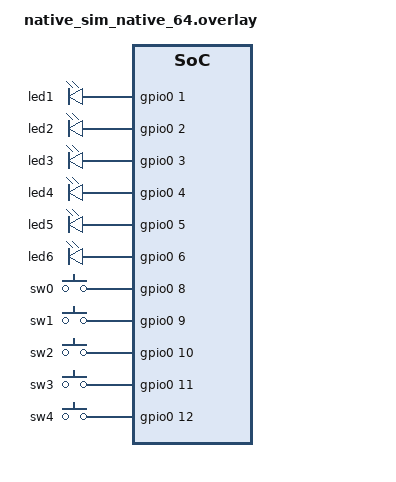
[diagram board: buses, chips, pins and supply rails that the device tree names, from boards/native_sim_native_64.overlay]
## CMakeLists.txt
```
cmake_minimum_required(VERSION 3.20.0)

# The board description under test. The test C code is the same for both: it reads the table the build generated and
# checks the image and the pins against it, so a channel added to the description (the extended one) reaches the image
# and its pin without any change to the firmware sources (IO-002).
if(NOT DEFINED ZPLC_IO_VARIANT)
  set(ZPLC_IO_VARIANT base)
endif()
if(NOT DEFINED ZPLC_IO_DESCRIPTION)
  set(ZPLC_IO_DESCRIPTION ${CMAKE_CURRENT_SOURCE_DIR}/io_${ZPLC_IO_VARIANT}.json)
endif()

list(PREPEND ZEPHYR_EXTRA_MODULES "${CMAKE_CURRENT_SOURCE_DIR}/../..")
find_package(Zephyr REQUIRED HINTS $ENV{ZEPHYR_BASE})
project(zplc_io_table)

# What each description needs, so that the test code names no channel: the number of channels and input
# channels and the image bytes the highest address of each direction needs.
if(ZPLC_IO_VARIANT STREQUAL "extended")
  set(_expect 12 5 3 2)
else()
  set(_expect 8 4 1 1)
endif()
list(GET _expect 0 _channels)
list(GET _expect 1 _inputs)
list(GET _expect 2 _input_bytes)
list(GET _expect 3 _output_bytes)

target_sources(app PRIVATE src/main.c)
target_compile_definitions(app PRIVATE
  ZPLC_IO_VARIANT_STR="${ZPLC_IO_VARIANT}"
  EXPECT_CHANNEL_COUNT=${_channels}
  EXPECT_INPUT_CHANNELS=${_inputs}
  EXPECT_INPUT_BYTES=${_input_bytes}
  EXPECT_OUTPUT_BYTES=${_output_bytes}
)
target_include_directories(app PRIVATE
  ${CMAKE_CURRENT_SOURCE_DIR}/../../lib/zplc_core/src/hal/zephyr
)
```

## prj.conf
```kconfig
CONFIG_ZTEST=y
CONFIG_ZPLC=y
CONFIG_ZPLC_SCHEDULER=y
CONFIG_ZPLC_MAX_TASKS=2
CONFIG_ZPLC_VM_CYCLE_INSTRUCTION_BUDGET=64
CONFIG_GPIO=y
CONFIG_GPIO_EMUL=y
CONFIG_SHELL=n
CONFIG_LOG=n
CONFIG_PRINTK=n
CONFIG_ASSERT=y
```

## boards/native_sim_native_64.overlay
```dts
/* Devicetree of the I/O table test: seven candidate outputs (pins 0 to 6) and five inputs (pins 8 to 12) on the
 * native_sim GPIO emulator. Which of them a board description uses is the test's variable: the others must stay
 * untouched. */
#include <zephyr/dt-bindings/gpio/gpio.h>
#include <zephyr/dt-bindings/input/input-event-codes.h>

/ {
    leds {
        led1: led_1 { gpios = <&gpio0 1 GPIO_ACTIVE_HIGH>; };
        led2: led_2 { gpios = <&gpio0 2 GPIO_ACTIVE_HIGH>; };
        led3: led_3 { gpios = <&gpio0 3 GPIO_ACTIVE_HIGH>; };
        led4: led_4 { gpios = <&gpio0 4 GPIO_ACTIVE_HIGH>; };
        led5: led_5 { gpios = <&gpio0 5 GPIO_ACTIVE_HIGH>; };
        led6: led_6 { gpios = <&gpio0 6 GPIO_ACTIVE_HIGH>; };
    };

    zplc_test_inputs {
        compatible = "gpio-keys";
        sw0: sw_0 { gpios = <&gpio0 8 0>; zephyr,code = <INPUT_KEY_0>; };
        sw1: sw_1 { gpios = <&gpio0 9 0>; zephyr,code = <INPUT_KEY_1>; };
        sw2: sw_2 { gpios = <&gpio0 10 0>; zephyr,code = <INPUT_KEY_2>; };
        sw3: sw_3 { gpios = <&gpio0 11 0>; zephyr,code = <INPUT_KEY_3>; };
        sw4: sw_4 { gpios = <&gpio0 12 0>; zephyr,code = <INPUT_KEY_4>; };
    };

    aliases {
        led1 = &led1;
        led2 = &led2;
        led3 = &led3;
        led4 = &led4;
        led5 = &led5;
        led6 = &led6;
        sw0 = &sw0;
        sw1 = &sw1;
        sw2 = &sw2;
        sw3 = &sw3;
        sw4 = &sw4;
    };
};
```

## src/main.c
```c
/*
 * The board I/O description drives the firmware I/O (IO-001, IO-002, IO-005, IO-018).
 *
 * The build generates the I/O table from io_<variant>.json. This test reads that
 * table and nothing else about the board: it drives every emulated input pin high,
 * runs a scan of a program that copies the input image and sets the output image,
 * and checks that
 *   - a described input lands in the input image at its address;
 *   - a described output reaches its pin;
 *   - a pin the devicetree has but the description does not list is left alone.
 * The base and the extended description run the same code, so the extra channels
 * of the extended one (an output in a second byte, an input in a third) reach the
 * image and the pins without a line of C that names them.
 */
#include <stdbool.h>
#include <string.h>
#include <zephyr/devicetree.h>
#include <zephyr/drivers/gpio/gpio_emul.h>
#include <zephyr/ztest.h>
#include <zplc_core.h>
#include <zplc_hal.h>
#include <zplc_isa.h>
#include <zplc_scheduler.h>

#include "zplc_io_zephyr.h"

#define GPIO_CONTROLLER DEVICE_DT_GET(DT_NODELABEL(gpio0))

/* The candidate pins of the devicetree overlay: outputs 0 to 6, inputs 8 to 12. */
#define OUTPUT_PIN_COUNT 7U
#define INPUT_PIN_FIRST 8U
#define INPUT_PIN_COUNT 5U

#define PROGRAM_CAPACITY 128U
#define INTERVAL_US 100000U
#define INPUT_BYTES_COPIED 3U

#define WORK_COPY (ZPLC_MEM_WORK_BASE + 0U)
#define ADDRESS_LOW(address) ((uint8_t)((address) & 0xFFU))
#define ADDRESS_HIGH(address) ((uint8_t)(((address) >> 8) & 0xFFU))

/* IPI[0..2] are copied to WORK[0..2]; OPI[0] and OPI[1] are set to the values
 * patched at VALUE_0_INDEX and VALUE_1_INDEX. */
static const uint8_t program_code[] = {
    OP_LOAD8,
    ADDRESS_LOW(ZPLC_MEM_IPI_BASE + 0U),
    ADDRESS_HIGH(ZPLC_MEM_IPI_BASE + 0U),
    OP_STORE8,
    ADDRESS_LOW(WORK_COPY + 0U),
    ADDRESS_HIGH(WORK_COPY + 0U),
    OP_LOAD8,
    ADDRESS_LOW(ZPLC_MEM_IPI_BASE + 1U),
    ADDRESS_HIGH(ZPLC_MEM_IPI_BASE + 1U),
    OP_STORE8,
    ADDRESS_LOW(WORK_COPY + 1U),
    ADDRESS_HIGH(WORK_COPY + 1U),
    OP_LOAD8,
    ADDRESS_LOW(ZPLC_MEM_IPI_BASE + 2U),
    ADDRESS_HIGH(ZPLC_MEM_IPI_BASE + 2U),
    OP_STORE8,
    ADDRESS_LOW(WORK_COPY + 2U),
    ADDRESS_HIGH(WORK_COPY + 2U),
    OP_PUSH8,
    0U, /* VALUE_0_INDEX */
    OP_STORE8,
    ADDRESS_LOW(ZPLC_MEM_OPI_BASE + 0U),
    ADDRESS_HIGH(ZPLC_MEM_OPI_BASE + 0U),
    OP_PUSH8,
    0U, /* VALUE_1_INDEX */
    OP_STORE8,
    ADDRESS_LOW(ZPLC_MEM_OPI_BASE + 1U),
    ADDRESS_HIGH(ZPLC_MEM_OPI_BASE + 1U),
    OP_HALT,
};
#define VALUE_0_INDEX 19U
#define VALUE_1_INDEX 24U

static uint32_t crc32_update(uint32_t crc, const uint8_t *data, size_t length) {
  size_t index;

  for (index = 0U; index < length; index++) {
    uint32_t bit;

    crc ^= data[index];
    for (bit = 0U; bit < 8U; bit++) {
      crc = (crc & 1U) != 0U ? (crc >> 1) ^ 0xEDB88320U : crc >> 1;
    }
  }
  return crc;
}

static void write_u16_le(uint8_t *data, uint16_t value) {
  data[0] = (uint8_t)value;
  data[1] = (uint8_t)(value >> 8);
}

static void write_u32_le(uint8_t *data, uint32_t value) {
  data[0] = (uint8_t)value;
  data[1] = (uint8_t)(value >> 8);
  data[2] = (uint8_t)(value >> 16);
  data[3] = (uint8_t)(value >> 24);
}

static size_t build_program(uint8_t *program, uint8_t value_0, uint8_t value_1) {
  const size_t code_size = sizeof(program_code);
  const size_t code_offset = ZPLC_FILE_HEADER_SIZE + 2U * ZPLC_SEGMENT_ENTRY_SIZE;
  const size_t task_offset = code_offset + code_size;
  const size_t total = task_offset + ZPLC_TASK_DEF_SIZE;
  uint8_t *task = program + task_offset;
  uint32_t crc;

  zassert_true(total <= PROGRAM_CAPACITY, "program buffer overflow");
  zassert_equal(program_code[VALUE_0_INDEX - 1U], OP_PUSH8, "value 0 follows a push");
  zassert_equal(program_code[VALUE_1_INDEX - 1U], OP_PUSH8, "value 1 follows a push");
  memset(program, 0, total);
  memcpy(program, "ZPLC", 4U);
  write_u16_le(program + 4U, ZPLC_VERSION_MAJOR);
  write_u16_le(program + 6U, ZPLC_VERSION_MINOR);
  write_u32_le(program + 28U, ZPLC_DRAFT_COUNTER);
  write_u32_le(program + 16U, (uint32_t)code_size);
  write_u32_le(program + 20U, (uint32_t)ZPLC_TASK_DEF_SIZE);
  write_u16_le(program + 26U, 2U);
  write_u16_le(program + 32U, ZPLC_SEG_CODE);
  write_u32_le(program + 36U, (uint32_t)code_size);
  write_u16_le(program + 40U, ZPLC_SEG_TASK);
  write_u32_le(program + 44U, (uint32_t)ZPLC_TASK_DEF_SIZE);
  memcpy(program + code_offset, program_code, code_size);
  program[code_offset + VALUE_0_INDEX] = value_0;
  program[code_offset + VALUE_1_INDEX] = value_1;
  write_u16_le(task, 1U);
  task[2] = ZPLC_TASK_CYCLIC;
  task[3] = 1U;
  write_u32_le(task + 4U, INTERVAL_US);
  write_u16_le(task + 8U, 0U);
  write_u16_le(task + 10U, 64U);
  crc = crc32_update(0xFFFFFFFFU, program, 12U);
  crc = crc32_update(crc, program + 16U, total - 16U) ^ 0xFFFFFFFFU;
  write_u32_le(program + 12U, crc);
  return total;
}

static void clear_scheduler(void) {
  int index;

  zassert_ok(zplc_sched_stop(), "stop scheduler");
  for (index = 0; index < CONFIG_ZPLC_MAX_TASKS; index++) {
    int result = zplc_sched_unregister_task(index);

    zassert_true(result == 0 || result == -2, "unregister task");
  }
}

/* The pin of a digital channel of the table, from the generated bindings. */
static uint8_t channel_pin(const zplc_io_channel_t *channel) {
  zassert_true(channel->hal_channel < zplc_io_gpio_binding_count, "HAL number in range");
  return (uint8_t)zplc_io_gpio_bindings[channel->hal_channel].spec.pin;
}

static bool output_pin_is_described(uint8_t pin) {
  size_t index;

  for (index = 0U; index < zplc_io_channel_count(); index++) {
    const zplc_io_channel_t *channel = zplc_io_channel_at(index);

    if (channel->direction == ZPLC_IO_DIR_OUTPUT && channel_pin(channel) == pin) {
      return true;
    }
  }
  return false;
}

/* Runs the program until one scan committed its outputs and leaves the pins and the
 * copied input image where the scan put them (a stop would drive the pins safe). */
static void run_scan(uint8_t value_0, uint8_t value_1, uint8_t *input_copy) {
  uint8_t program[PROGRAM_CAPACITY];
  zplc_sched_stats_t stats;
  uint32_t before;
  size_t size;
  int waited_ms = 0;

  clear_scheduler();
  size = build_program(program, value_0, value_1);
  zassert_equal(zplc_sched_load(program, size), 1, "load the program");
  zassert_ok(zplc_sched_get_stats(&stats), "read the commit count");
  before = stats.output_commit_count; /* the count survives a load: wait for a scan of this program */
  zassert_ok(zplc_sched_start(), "start scheduler");
  do {
    k_msleep(5);
    waited_ms += 5;
    zassert_ok(zplc_sched_get_stats(&stats), "read the commit count");
  } while (stats.output_commit_count <= before && waited_ms < 2000);
  zassert_true(stats.output_commit_count > before, "no output commit");
  memcpy(input_copy, zplc_mem_get_region(ZPLC_MEM_WORK_BASE), INPUT_BYTES_COPIED);
}

static bool input_pin_is_described(uint8_t pin) {
  size_t index;

  for (index = 0U; index < zplc_io_channel_count(); index++) {
    const zplc_io_channel_t *channel = zplc_io_channel_at(index);

    if (channel->direction == ZPLC_IO_DIR_INPUT && channel_pin(channel) == pin) {
      return true;
    }
  }
  return false;
}

/* The emulator accepts a level only on a pin that the HAL configured as an input, so a pin of the
 * devicetree that the description does not list is refused: the HAL never touched it. */
static void drive_all_inputs(int level) {
  uint8_t pin;

  for (pin = INPUT_PIN_FIRST; pin < INPUT_PIN_FIRST + INPUT_PIN_COUNT; pin++) {
    int result = gpio_emul_input_set(GPIO_CONTROLLER, pin, level);

    if (input_pin_is_described(pin)) {
      zassert_ok(result, "a described input pin is configured as an input");
    } else {
      zassert_true(result != 0, "an undescribed pin is not configured as an input");
    }
  }
}

static void *setup(void) {
  /* IO-018: the peripherals are configured here, before any task runs */
  zassert_equal(zplc_hal_init(), ZPLC_HAL_OK, "initialize HAL from the description");
  zassert_ok(zplc_sched_init(), "initialize scheduler");
  return NULL;
}

static void teardown(void *fixture) {
  ARG_UNUSED(fixture);
  clear_scheduler();
  zassert_equal(zplc_hal_shutdown(), ZPLC_HAL_OK, "shutdown HAL");
}

ZTEST(zplc_io_table, test_the_table_is_the_description_of_the_build) {
  const zplc_io_table_t *table = zplc_io_table();

  zassert_equal(strcmp(table->board_id, "io-test-" ZPLC_IO_VARIANT_STR), 0, "board id");
  zassert_equal(table->channel_count, EXPECT_CHANNEL_COUNT, "channel count");
  /* IO-005: the image sizes are what the channels need */
  zassert_equal(table->input_bytes, EXPECT_INPUT_BYTES, "input image bytes");
  zassert_equal(table->output_bytes, EXPECT_OUTPUT_BYTES, "output image bytes");
  /* outputs first, then inputs, as the HAL numbers them: all channels are digital here */
  {
    bool seen_input = false;

    for (size_t index = 0U; index < table->channel_count; index++) {
      const zplc_io_channel_t *channel = zplc_io_channel_at(index);

      zassert_equal(channel->hal_channel, (uint8_t)index, "HAL gpio channel is the position in the table");
      if (channel->direction == ZPLC_IO_DIR_INPUT) {
        seen_input = true;
      } else {
        zassert_false(seen_input, "an output after an input");
      }
    }
  }
}

ZTEST(zplc_io_table, test_described_outputs_reach_their_pins_and_nothing_else) {
  uint8_t input_copy[INPUT_BYTES_COPIED];
  uint8_t pin;

  drive_all_inputs(0);
  run_scan(0xFFU, 0xFFU, input_copy);
  for (pin = 0U; pin < OUTPUT_PIN_COUNT; pin++) {
    zassert_equal(gpio_emul_output_get(GPIO_CONTROLLER, pin), output_pin_is_described(pin) ? 1 : 0,
                  "a described output follows the image; an undescribed pin is untouched");
  }
  run_scan(0x00U, 0x00U, input_copy);
  for (pin = 0U; pin < OUTPUT_PIN_COUNT; pin++) {
    zassert_equal(gpio_emul_output_get(GPIO_CONTROLLER, pin), 0, "outputs go low with the image");
  }
}

ZTEST(zplc_io_table, test_described_inputs_land_in_the_image_at_their_address) {
  uint8_t input_copy[INPUT_BYTES_COPIED];
  size_t index;
  uint8_t pin;
  int described_inputs = 0;

  drive_all_inputs(1);
  run_scan(0x00U, 0x00U, input_copy);
  for (index = 0U; index < zplc_io_channel_count(); index++) {
    const zplc_io_channel_t *channel = zplc_io_channel_at(index);

    if (channel->direction == ZPLC_IO_DIR_INPUT) {
      zassert_equal(zplc_io_image_get(input_copy, sizeof(input_copy), channel), 1U, "a described input is high at its address");
      described_inputs++;
    }
  }
  zassert_equal(described_inputs, EXPECT_INPUT_CHANNELS, "input channel count");
  /* every bit of the copied bytes that no channel describes is still zero */
  for (pin = 0U; pin < 8U * INPUT_BYTES_COPIED; pin++) {
    bool described = false;

    for (index = 0U; index < zplc_io_channel_count(); index++) {
      const zplc_io_channel_t *channel = zplc_io_channel_at(index);

      if (channel->direction == ZPLC_IO_DIR_INPUT && (size_t)channel->image_offset * 8U + channel->bit == pin) {
        described = true;
      }
    }
    if (!described) {
      zassert_equal((input_copy[pin / 8U] >> (pin % 8U)) & 1U, 0U, "an image bit without a channel stays zero");
    }
  }

  drive_all_inputs(0);
  run_scan(0x00U, 0x00U, input_copy);
  zassert_equal(input_copy[0], 0U, "inputs go low in the image");
  zassert_equal(input_copy[2], 0U, "inputs of the third byte go low");
}

ZTEST_SUITE(zplc_io_table, NULL, setup, NULL, NULL, teardown);
```
